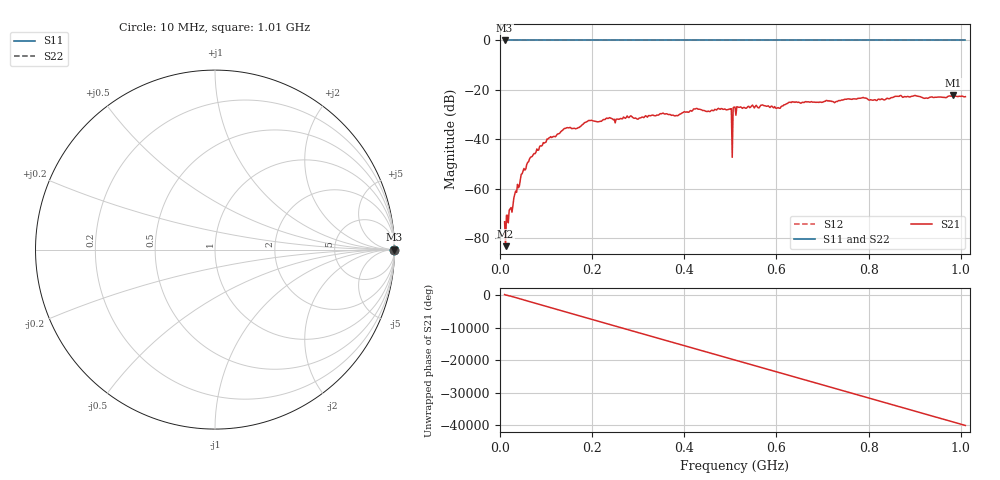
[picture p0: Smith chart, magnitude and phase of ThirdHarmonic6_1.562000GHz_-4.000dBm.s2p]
! 8/16/2025 6:33:23 PM
! C:\ANRITSUVNA\TEMP\TEMP.S2P
! CHANNEL.1
! TR.MEASUREMENT
! RAW.DATA
! RF.CORRECTION.OFF
! AVERAGING.OFF
! IF.BANDWIDTH: 5KHZ
! SWEEPTYPE:  FREQ.SWEEP(Linear)
! Reference Plane Port Info
! PORT:  PORT1  PORT2
! DISTANCE:  0  m  0  m
! TIME:  0  s  0  s
! PHASE.OFFSET:  0  deg.  0  deg.
! LOSS:  0  dB  0  dB
! REF.LOSS:  0  dB  0  dB
! REF.FREQ:  0  Hz  0  Hz
! Power Info
! POWER:  -20  dBm  -20  dBm
! EFF.POWER:  -20  dBm  -20  dBm
! SOURCE.ATTEN:  0  dB  0  dB
! TEST.ATTEN:  0  dB  0  dB
# GHZ S RI R 50.0
! FREQ.GHZ  S11RE  S11IM  S21RE  S21IM  S12RE  S12IM  S22RE  S22IM
!; PortSelection: Port_12
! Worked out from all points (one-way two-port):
!   501 points, 10 MHz to 1.01 GHz, reference 50 ohm
!   highest |S21| = -22.19 dB at 984 MHz (marker M1); lowest = -83.2 dB at 12 MHz (marker M2)
!   lowest |S11| = 0.0 dB at 10 MHz (marker M3)
!   |S11| at or under -10 dB: nowhere
!   |S22| runs from 0.0 to 0.0 dB; largest |S21 - S12| = 1.1
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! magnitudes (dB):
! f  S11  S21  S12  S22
! 10 MHz  0.0  -73.4  0.0  0.0
! 12 MHz  0.0  -83.2  0.0  0.0
! 22 MHz  0.0  -68.1  0.0  0.0
! 48 MHz  0.0  -53.9  0.0  0.0
! 68 MHz  0.0  -47.1  0.0  0.0
! 106 MHz  0.0  -39.5  0.0  0.0
! 142 MHz  0.0  -35.6  0.0  0.0
! 178 MHz  0.0  -34.2  0.0  0.0
! 196 MHz  0.0  -32.4  0.0  0.0
! 344 MHz  0.0  -30.2  0.0  0.0
! 424 MHz  0.0  -27.7  0.0  0.0
! 498 MHz  0.0  -27.7  0.0  0.0
! 500 MHz  0.0  -27.7  0.0  0.0
! 508 MHz  0.0  -27.0  0.0  0.0
! 510 MHz  0.0  -27.0  0.0  0.0
! 570 MHz  0.0  -26.1  0.0  0.0
! 604 MHz  0.0  -27.2  0.0  0.0
! 630 MHz  0.0  -25.0  0.0  0.0
! 678 MHz  0.0  -25.0  0.0  0.0
! 844 MHz  0.0  -23.6  0.0  0.0
! 984 MHz  0.0  -22.2  0.0  0.0
! 1.01 GHz  0.0  -22.7  0.0  0.0
